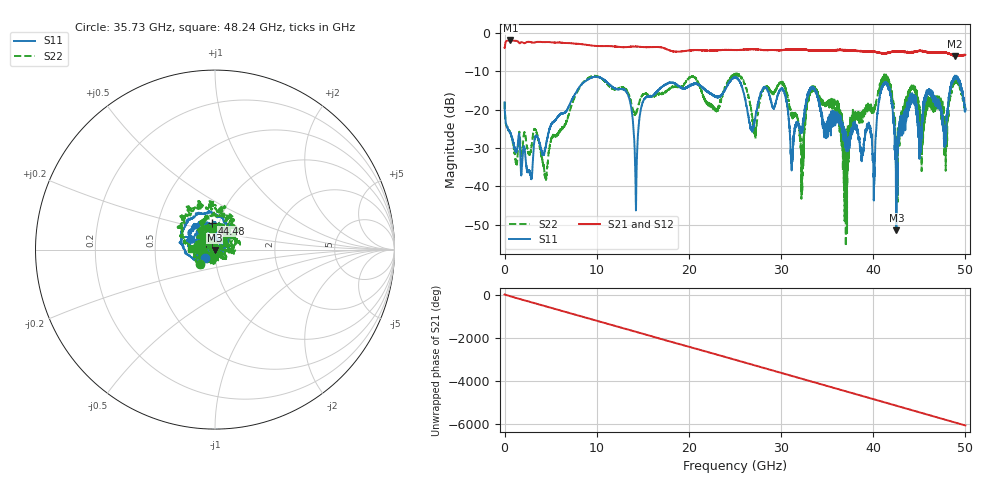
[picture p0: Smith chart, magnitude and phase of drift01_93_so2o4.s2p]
!Created with skrf (http://scikit-rf.org).
# Hz S RI R 50.0
!freq ReS11 ImS11 ReS21 ImS21 ReS12 ImS12 ReS22 ImS22
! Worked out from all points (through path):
!   10001 points, 300 kHz to 50 GHz, reference 50 ohm
!   highest |S21| = -2.00 dB at 625.3 MHz (marker M1); lowest = -6.1 dB at 48.88 GHz (marker M2)
!   group delay of S21, straight-line fit = 336 ps
!   lowest |S11| = -51.5 dB at 42.51 GHz (marker M3), VSWR 1.01, Z = 49.8 - j0.205 ohm
!   |S11| at or under -10 dB: start of sweep to end of sweep
!   |S22| runs from -55.6 to -10.5 dB; largest |S21 - S12| = 0.022
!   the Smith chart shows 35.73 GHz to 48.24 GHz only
!   S11 on the Smith chart (normalised r, x): 35.73 GHz: 0.89, -0.08; 44.48 GHz: 0.93, +0.28; 48.24 GHz: 0.76, +0.09
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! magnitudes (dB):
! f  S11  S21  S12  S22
! 300 kHz  -18.1  -4.0  -4.1  -18.0
! 625.3 MHz  -26.1  -2.0  -2.0  -26.1
! 4.445 GHz  -29.8  -2.4  -2.4  -37.5
! 8.335 GHz  -13.5  -3.0  -3.0  -13.5
! 13.17 GHz  -15.2  -3.7  -3.7  -14.7
! 14.26 GHz  -46.2  -3.6  -3.6  -21.1
! 16.67 GHz  -14.9  -3.7  -3.7  -15.8
! 25 GHz  -11.6  -4.5  -4.5  -11.0
! 27.14 GHz  -22.6  -4.3  -4.3  -25.8
! 30.2 GHz  -15.0  -4.5  -4.5  -13.3
! 31.15 GHz  -35.9  -4.3  -4.3  -20.9
! 32.25 GHz  -24.9  -4.3  -4.2  -35.7
! 33.34 GHz  -14.3  -4.6  -4.6  -14.7
! 35.73 GHz  -22.5  -4.5  -4.5  -18.9
! 37.03 GHz  -26.1  -4.5  -4.6  -55.6
! 40.07 GHz  -43.5  -4.9  -4.9  -19.9
! 41.67 GHz  -14.2  -5.2  -5.2  -12.5
! 42.51 GHz  -51.5  -4.9  -4.9  -27.5
! 44.48 GHz  -16.7  -5.0  -4.9  -14.5
! 48.24 GHz  -16.6  -5.6  -5.4  -17.5
! 48.88 GHz  -11.3  -6.1  -6.0  -12.5
! 50 GHz  -19.8  -5.8  -5.8  -19.8
